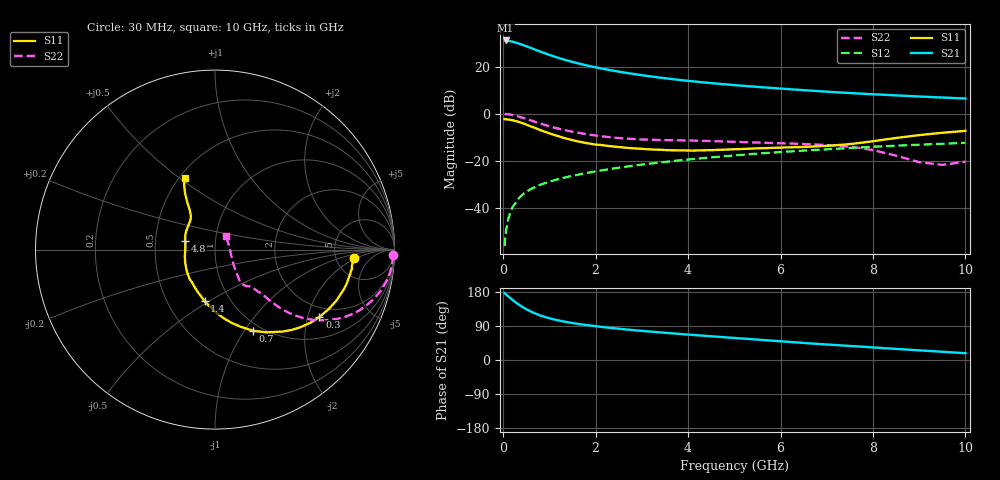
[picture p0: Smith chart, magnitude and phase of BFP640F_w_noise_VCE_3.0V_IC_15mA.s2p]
! Infineon Technologies  Discrete & RF Semiconductors
! BFP640F
! VCE =  3.0 V,  IC =  15 mA
! Common Emitter S-Parameters:  Apr 2013
# GHz  S  MA  R  50
!  f  S11  S21  S12  S22
! GHz  MAG  ANG  MAG  ANG  MAG  ANG  MAG  ANG
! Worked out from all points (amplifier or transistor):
!   99 points, 30 MHz to 10 GHz, reference 50 ohm
!   highest |S21| = 31.4 dB at 50 MHz (marker M1)
!   |S21| within 3 dB of that: start of sweep to 571.5 MHz
!   unconditionally stable (mu >= 1): 2.553 GHz to end of sweep
!   at 350 MHz: K = 0.28, MSG = 32.9 dB, |S12| = -35.8 dB
!   at 3.5 GHz: K = 1.05, MAG = 16.6 dB, |S12| = -20.5 dB
!   at 10 GHz: K = 1.06, MAG = 8.0 dB, |S12| = -12.3 dB
!   lowest NFmin = 0.74 dB at 450 MHz
!   S11 on the Smith chart (normalised r, x): 30 MHz: 7.52, -1.68; 300 MHz: 1.65, -2.38; 700 MHz: 0.91, -1.09; 1.4 GHz: 0.76, -0.48; 4.8 GHz: 0.71, +0.07; 10 GHz: 0.53, +0.52
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0.03  0.7754 -3.3  36.76 176.5  0.0015 78.0  0.9921 -1.8
0.05  0.7693 -5.8  37.15 174.4  0.0023 53.4  0.9917 -3.4
0.12  0.7588 -13.7  36.32 166.8  0.0062 79.6  0.9793 -8.6
0.2  0.7343 -22.6  35 158.7  0.0102 79.1  0.9513 -14.1
0.3  0.6923 -32.8  32.84 149.4  0.0143 76.2  0.8997 -20.2
0.4  0.6427 -42.3  30.43 141.2  0.0182 73.2  0.8411 -25.4
0.5  0.5912 -50.6  27.99 134.0  0.0217 70.9  0.7832 -29.5
0.6  0.5414 -58.4  25.66 127.7  0.025 68.7  0.7263 -32.9
0.7  0.4974 -65.1  23.44 122.4  0.0278 67.9  0.6732 -35.6
0.8  0.4525 -71.7  21.55 117.6  0.0306 66.7  0.6274 -37.6
1  0.3859 -82.7  18.25 110.2  0.0358 65.1  0.5472 -40.4
1.2  0.3331 -92.4  15.7 104.3  0.0408 64.2  0.4849 -41.9
1.4  0.2927 -101.5  13.74 99.6  0.0455 63.9  0.4372 -42.7
1.7  0.2494 -114.1  11.53 93.9  0.0524 63.4  0.3839 -43.1
2  0.2217 -125.7  9.912 89.2  0.0596 62.7  0.347 -43.7
2.4  0.2012 -139.9  8.331 83.8  0.0689 61.4  0.3124 -44.9
3.4  0.172 -168.1  5.958 72.8  0.0922 58.4  0.2775 -47.3
4.8  0.1734 164.0  4.297 59.9  0.1256 52.6  0.2579 -50.6
5.1  0.1775 159.5  4.061 57.3  0.1325 51.3  0.2525 -51.1
6.7  0.2016 136.7  3.131 43.3  0.1692 43.1  0.2236 -51.9
8.5  0.3069 120.3  2.493 29.3  0.2102 33.5  0.1286 -37.7
10  0.4352 112.9  2.14 17.9  0.2419 25.1  0.0953 50.6
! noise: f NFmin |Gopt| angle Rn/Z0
0.45  0.74  0.06  6  0.05
0.9  0.75  0.06  19  0.06
1.5  0.76  0.05  35  0.07
1.9  0.77  0.05  51  0.07
2.4  0.79  0.04  76  0.08
3.5  0.88  0.05  131  0.09
5.5  1.07  0.14  -142  0.12
10  1.56  0.4  -93  0.36
